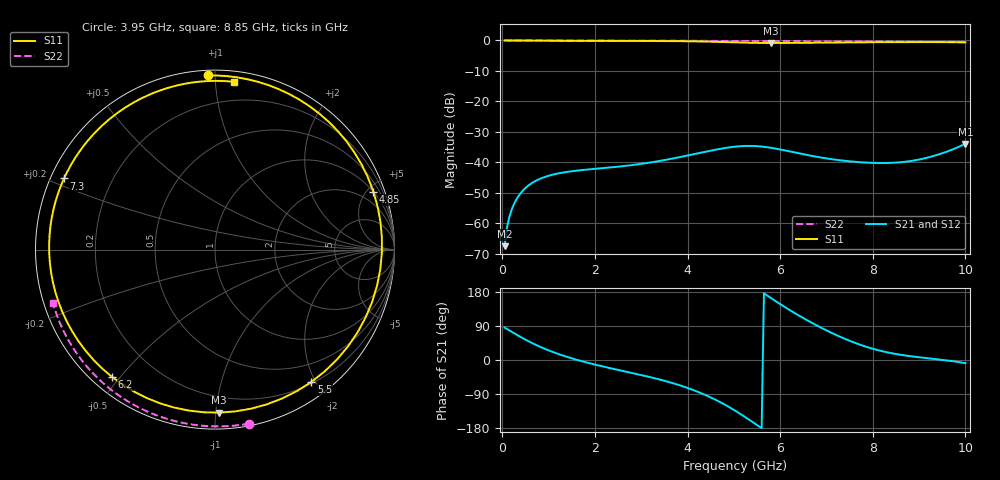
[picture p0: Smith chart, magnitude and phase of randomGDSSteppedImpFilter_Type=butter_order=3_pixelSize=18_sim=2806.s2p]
! freq	dB(S11)	phase(S11)	dB(S12)	phase(S12)
!  dB(S21)	phase(S21)	dB(S22)	phase(S22)
!S-par simulation data
#  GHz  S  DB  R 50
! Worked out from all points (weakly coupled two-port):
!   200 points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, 50 MHz to 10 GHz, reference 50 ohm
!   highest |S21| = -33.91 dB at 10 GHz (marker M1); lowest = -67.5 dB at 50 MHz (marker M2)
!   lowest |S11| = -0.8 dB at 5.8 GHz (marker M3), VSWR 20.84, Z = 4.92 - j51.1 ohm
!   |S11| at or under -10 dB: nowhere
!   |S22| runs from -0.6 to 0.0 dB; largest |S21 - S12| = 0
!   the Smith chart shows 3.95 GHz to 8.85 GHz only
!   S11 on the Smith chart (normalised r, x): 3.95 GHz: 0.03, +0.96; 4.85 GHz: 1.00, +5.49; 5.5 GHz: 0.22, -1.95; 6.2 GHz: 0.06, -0.48; 7.3 GHz: 0.04, +0.22; 8.85 GHz: 0.07, +1.12
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0.05  -0.00 -6.6  -67.46 85.6  -67.46 85.6  -0.00 -1.1
0.15  -0.02 -19.8  -57.99 78.4  -57.99 78.4  -0.00 -3.2
0.25  -0.04 -32.6  -53.72 71.0  -53.72 71.0  -0.01 -5.3
0.45  -0.07 -56.7  -49.14 57.0  -49.14 57.0  -0.01 -9.5
0.7  -0.09 -83.2  -46.21 41.3  -46.21 41.3  -0.02 -14.7
1.2  -0.11 -124.5  -43.62 16.3  -43.62 16.3  -0.03 -25.1
1.75  -0.11 -158.0  -42.45 -4.3  -42.45 -4.3  -0.05 -36.4
2.55  -0.13 163.3  -41.31 -27.4  -41.31 -27.4  -0.07 -52.3
3.4  -0.18 123.2  -39.50 -51.5  -39.50 -51.5  -0.09 -68.7
3.95  -0.26 92.4  -37.89 -71.6  -37.89 -71.6  -0.11 -78.9
4.4  -0.37 60.7  -36.45 -93.1  -36.45 -93.1  -0.12 -87.0
4.85  -0.54 20.0  -35.17 -120.8  -35.17 -120.8  -0.14 -95.0
5.05  -0.63 -1.3  -34.79 -135.4  -34.79 -135.4  -0.15 -98.5
5.25  -0.72 -24.2  -34.59 -151.0  -34.59 -151.0  -0.16 -102.0
5.5  -0.80 -53.9  -34.66 -171.6  -34.66 -171.6  -0.17 -106.3
5.8  -0.83 -88.5  -35.19 163.6  -35.19 163.6  -0.19 -111.4
6.2  -0.80 -128.9  -36.35 132.3  -36.35 132.3  -0.21 -118.1
6.7  -0.71 -168.7  -37.90 97.1  -37.90 97.1  -0.25 -126.4
7.3  -0.63 154.8  -39.30 61.0  -39.30 61.0  -0.29 -136.2
8.35  -0.55 104.9  -40.17 19.2  -40.17 19.2  -0.39 -153.5
8.85  -0.53 83.6  -39.46 9.5  -39.46 9.5  -0.44 -161.8
10  -0.61 34.1  -33.91 -8.4  -33.91 -8.4  -0.58 178.3
